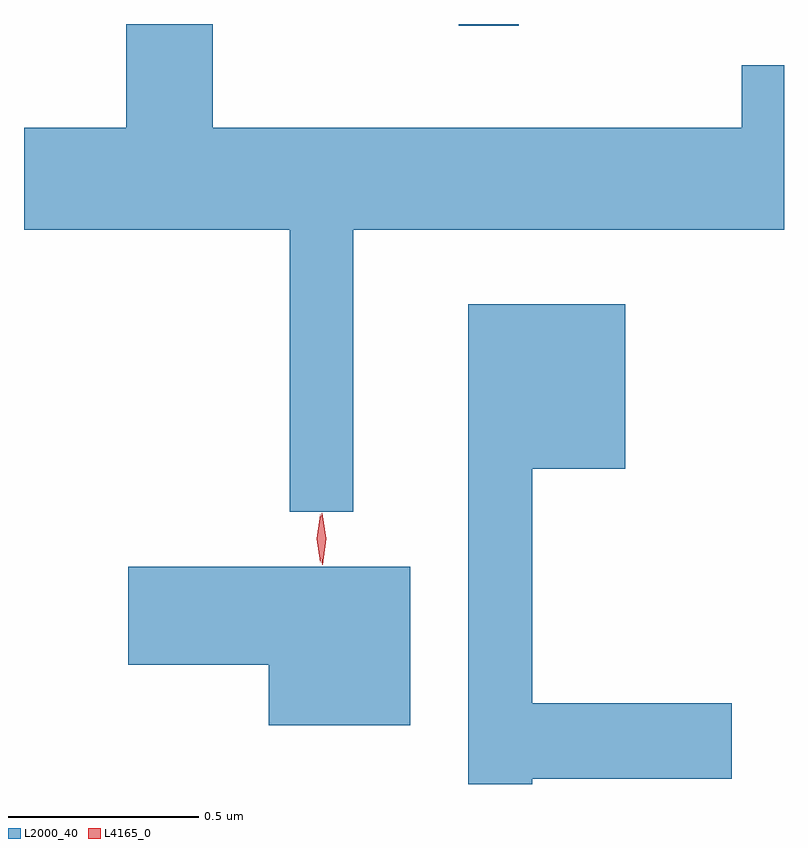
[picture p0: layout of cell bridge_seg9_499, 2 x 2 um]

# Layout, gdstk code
import gdstk
lib = gdstk.Library(unit=1e-6, precision=1e-09)
def R(c, l, rs):  # rectangles x0, y0, x1, y1
    for r in rs: c.add(gdstk.rectangle(r[:2], r[2:], *l))
def P(c, l, *ps):  # polygons
    for p in ps: c.add(gdstk.Polygon(p, *l))
L2000_40 = (2000, 40)
L4165_0 = (4165, 0)

bridge_seg9_499 = lib.new_cell('bridge_seg9_499')
R(bridge_seg9_499, L2000_40, [(619.836,1985.693,619.994,1985.697)])
P(bridge_seg9_499, L2000_40, [(619.559,1985.156),(620.692,1985.156),(620.692,1985.589),(620.581,1985.589),(620.581,1985.424),(619.189,1985.424),(619.189,1985.697),(618.961,1985.697),(618.961,1985.424),(618.692,1985.424),(618.692,1985.156),(619.391,1985.156),(619.391,1984.413),(619.559,1984.413)],
  [(620.029,1983.711),(620.554,1983.711),(620.554,1983.909),(620.029,1983.909),(620.029,1984.526),(620.274,1984.526),(620.274,1984.959),(619.861,1984.959),(619.861,1983.697),(620.029,1983.697)],
  [(619.709,1984.269),(618.966,1984.269),(618.966,1984.011),(619.336,1984.011),(619.336,1983.851),(619.709,1983.851)])
P(bridge_seg9_499, L4165_0, [(619.477,1984.274),(619.467,1984.342),(619.476,1984.41),(619.477,1984.41),(619.477,1984.41),(619.487,1984.342),(619.478,1984.274),(619.478,1984.274)],
  [(619.471,1984.28),(619.462,1984.343),(619.471,1984.406),(619.472,1984.407),(619.472,1984.406),(619.482,1984.343),(619.472,1984.28),(619.472,1984.28)])

lib.write_gds('bridge_seg9_499.gds')
